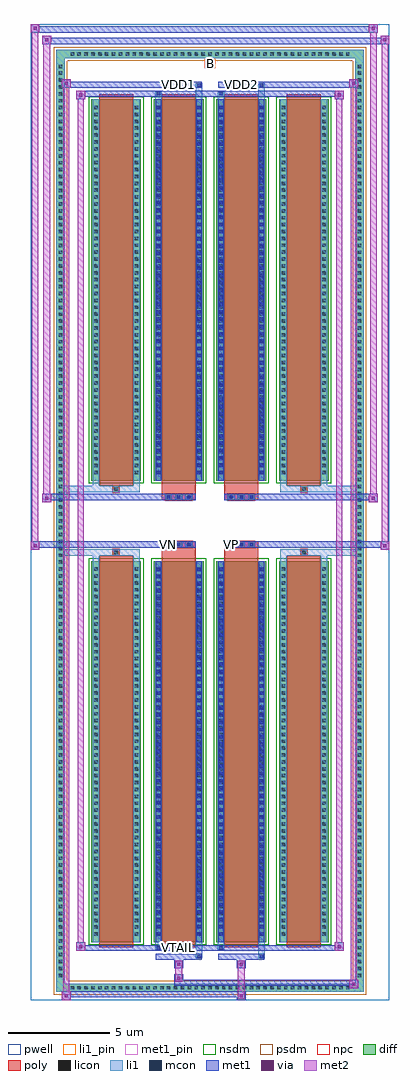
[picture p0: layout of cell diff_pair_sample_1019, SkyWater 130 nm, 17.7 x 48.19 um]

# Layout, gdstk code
import gdstk
lib = gdstk.Library(unit=1e-6, precision=5e-09)
def R(c, l, rs):  # rectangles x0, y0, x1, y1
    for r in rs: c.add(gdstk.rectangle(r[:2], r[2:], *l))
def A(c, l, x, y, w, h, nx, ny, dx, dy):  # array of equal rectangles
    R(c, l, [(x+i*dx, y+j*dy, x+i*dx+w, y+j*dy+h) for i in range(nx) for j in range(ny)])
def P(c, l, *ps):  # polygons
    for p in ps: c.add(gdstk.Polygon(p, *l))
pwell = (64, 44)
diff = (65, 20)
poly = (66, 20)
licon = (66, 44)
li1_pin = (67, 16)
li1 = (67, 20)
mcon = (67, 44)
met1_pin = (68, 16)
met1 = (68, 20)
via = (68, 44)
met2 = (69, 20)
nsdm = (93, 44)
psdm = (94, 20)
npc = (95, 20)

diff_pair_sample_1019 = lib.new_cell('diff_pair_sample_1019')
R(diff_pair_sample_1019, pwell, [(-8.85,-23.66,8.85,24.53), (-6.17,-21.85,-0.01,-0.805), (0.01,-21.85,6.17,-0.805), (-6.17,0.805,-0.01,21.85), (0.01,0.805,6.17,21.85)])
A(diff_pair_sample_1019, diff, -7.005, -23.26, 0.41, 0.41, 41, 2, 0.34, 46.11)
A(diff_pair_sample_1019, diff, -7.58, -22.645, 0.41, 0.41, 1, 133, 0, 0.34)
A(diff_pair_sample_1019, diff, 7.17, -22.645, 0.41, 0.41, 1, 133, 0, 0.34)
A(diff_pair_sample_1019, diff, -5.86, -20.805, 2.45, 18.82, 4, 2, 3.09, 22.79)
R(diff_pair_sample_1019, diff, [(-7.005,-23.26,7.005,-22.85), (-7.58,-22.645,-7.17,22.645), (7.17,-22.645,7.58,22.645), (-7.005,22.85,7.005,23.26)])
P(diff_pair_sample_1019, diff, [(7.58,23.26),(-7.58,23.26),(-7.58,-22.85),(-7.17,-22.85),(-7.17,22.85),(7.17,22.85),(7.17,-22.85),(-7.17,-22.85),(-7.58,-22.85),(-7.58,-23.26),(7.58,-23.26)])
A(diff_pair_sample_1019, poly, -5.47, -21.055, 1.67, 19.32, 4, 2, 3.09, 22.79)
A(diff_pair_sample_1019, poly, -2.21, -1.335, 0.33, 0.33, 3, 2, 0.5, 2.34)
A(diff_pair_sample_1019, poly, 0.88, -1.335, 0.33, 0.33, 3, 2, 0.5, 2.34)
R(diff_pair_sample_1019, poly, [(-4.8,-1.735,-4.47,-1.405), (-4.8,-1.735,-4.47,-1.405), (-2.38,-1.735,-0.71,-1.335), (0.71,-1.735,2.38,-1.335), (4.47,-1.735,4.8,-1.405), (4.47,-1.735,4.8,-1.405), (-2.38,-1.335,-0.71,-1.005), (0.71,-1.335,2.38,-1.005), (-2.38,1.005,-0.71,1.335), (0.71,1.005,2.38,1.335), (-2.38,1.335,-0.71,1.735), (0.71,1.335,2.38,1.735), (-4.8,1.405,-4.47,1.735), (-4.8,1.405,-4.47,1.735), (4.47,1.405,4.8,1.735), (4.47,1.405,4.8,1.735)])
A(diff_pair_sample_1019, licon, -6.885, -23.14, 0.17, 0.17, 41, 2, 0.34, 46.11)
A(diff_pair_sample_1019, licon, -7.46, -22.525, 0.17, 0.17, 1, 133, 0, 0.34)
A(diff_pair_sample_1019, licon, 7.29, -22.525, 0.17, 0.17, 1, 133, 0, 0.34)
A(diff_pair_sample_1019, licon, -5.72, -20.49, 0.17, 0.17, 1, 54, 0, 0.34)
A(diff_pair_sample_1019, licon, -3.72, -20.49, 0.17, 0.17, 1, 54, 0, 0.34)
A(diff_pair_sample_1019, licon, -2.63, -20.49, 0.17, 0.17, 1, 54, 0, 0.34)
A(diff_pair_sample_1019, licon, -0.63, -20.49, 0.17, 0.17, 1, 54, 0, 0.34)
A(diff_pair_sample_1019, licon, 0.46, -20.49, 0.17, 0.17, 1, 54, 0, 0.34)
A(diff_pair_sample_1019, licon, 2.46, -20.49, 0.17, 0.17, 1, 54, 0, 0.34)
A(diff_pair_sample_1019, licon, 3.55, -20.49, 0.17, 0.17, 1, 54, 0, 0.34)
A(diff_pair_sample_1019, licon, 5.55, -20.49, 0.17, 0.17, 1, 54, 0, 0.34)
A(diff_pair_sample_1019, licon, -2.13, -1.255, 0.17, 0.17, 3, 2, 0.5, 2.34)
A(diff_pair_sample_1019, licon, 0.96, -1.255, 0.17, 0.17, 3, 2, 0.5, 2.34)
A(diff_pair_sample_1019, licon, -5.72, 2.3, 0.17, 0.17, 1, 54, 0, 0.34)
A(diff_pair_sample_1019, licon, -3.72, 2.3, 0.17, 0.17, 1, 54, 0, 0.34)
A(diff_pair_sample_1019, licon, -2.63, 2.3, 0.17, 0.17, 1, 54, 0, 0.34)
A(diff_pair_sample_1019, licon, -0.63, 2.3, 0.17, 0.17, 1, 54, 0, 0.34)
A(diff_pair_sample_1019, licon, 0.46, 2.3, 0.17, 0.17, 1, 54, 0, 0.34)
A(diff_pair_sample_1019, licon, 2.46, 2.3, 0.17, 0.17, 1, 54, 0, 0.34)
A(diff_pair_sample_1019, licon, 3.55, 2.3, 0.17, 0.17, 1, 54, 0, 0.34)
A(diff_pair_sample_1019, licon, 5.55, 2.3, 0.17, 0.17, 1, 54, 0, 0.34)
R(diff_pair_sample_1019, licon, [(-4.72,-1.655,-4.55,-1.485), (4.55,-1.655,4.72,-1.485), (-4.72,1.485,-4.55,1.655), (4.55,1.485,4.72,1.655)])
R(diff_pair_sample_1019, li1_pin, [(-0.25,22.35,0.25,22.85)])
A(diff_pair_sample_1019, li1, -6.965, -23.22, 0.33, 0.33, 41, 2, 0.34, 46.11)
A(diff_pair_sample_1019, li1, -7.54, -22.605, 0.33, 0.33, 1, 133, 0, 0.34)
A(diff_pair_sample_1019, li1, 7.21, -22.605, 0.33, 0.33, 1, 133, 0, 0.34)
A(diff_pair_sample_1019, li1, -5.8, -20.57, 0.33, 0.33, 1, 54, 0, 0.34)
A(diff_pair_sample_1019, li1, -3.8, -20.57, 0.33, 0.33, 1, 54, 0, 0.34)
A(diff_pair_sample_1019, li1, -2.71, -20.57, 0.33, 0.33, 1, 54, 0, 0.34)
A(diff_pair_sample_1019, li1, -0.71, -20.57, 0.33, 0.33, 1, 54, 0, 0.34)
A(diff_pair_sample_1019, li1, 0.38, -20.57, 0.33, 0.33, 1, 54, 0, 0.34)
A(diff_pair_sample_1019, li1, 2.38, -20.57, 0.33, 0.33, 1, 54, 0, 0.34)
A(diff_pair_sample_1019, li1, 3.47, -20.57, 0.33, 0.33, 1, 54, 0, 0.34)
A(diff_pair_sample_1019, li1, 5.47, -20.57, 0.33, 0.33, 1, 54, 0, 0.34)
A(diff_pair_sample_1019, li1, -2.63, -20.48, 0.17, 0.17, 1, 51, 0, 0.36)
A(diff_pair_sample_1019, li1, -0.63, -20.48, 0.17, 0.17, 1, 51, 0, 0.36)
A(diff_pair_sample_1019, li1, 0.46, -20.48, 0.17, 0.17, 1, 51, 0, 0.36)
A(diff_pair_sample_1019, li1, 2.46, -20.48, 0.17, 0.17, 1, 51, 0, 0.36)
A(diff_pair_sample_1019, li1, -2.21, -1.335, 0.33, 0.33, 3, 2, 0.5, 2.34)
A(diff_pair_sample_1019, li1, 0.88, -1.335, 0.33, 0.33, 3, 2, 0.5, 2.34)
A(diff_pair_sample_1019, li1, -5.8, 2.22, 0.33, 0.33, 1, 54, 0, 0.34)
A(diff_pair_sample_1019, li1, -3.8, 2.22, 0.33, 0.33, 1, 54, 0, 0.34)
A(diff_pair_sample_1019, li1, -2.71, 2.22, 0.33, 0.33, 1, 54, 0, 0.34)
A(diff_pair_sample_1019, li1, -0.71, 2.22, 0.33, 0.33, 1, 54, 0, 0.34)
A(diff_pair_sample_1019, li1, 0.38, 2.22, 0.33, 0.33, 1, 54, 0, 0.34)
A(diff_pair_sample_1019, li1, 2.38, 2.22, 0.33, 0.33, 1, 54, 0, 0.34)
A(diff_pair_sample_1019, li1, 3.47, 2.22, 0.33, 0.33, 1, 54, 0, 0.34)
A(diff_pair_sample_1019, li1, 5.47, 2.22, 0.33, 0.33, 1, 54, 0, 0.34)
A(diff_pair_sample_1019, li1, -2.63, 2.31, 0.17, 0.17, 1, 51, 0, 0.36)
A(diff_pair_sample_1019, li1, -0.63, 2.31, 0.17, 0.17, 1, 51, 0, 0.36)
A(diff_pair_sample_1019, li1, 0.46, 2.31, 0.17, 0.17, 1, 51, 0, 0.36)
A(diff_pair_sample_1019, li1, 2.46, 2.31, 0.17, 0.17, 1, 51, 0, 0.36)
R(diff_pair_sample_1019, li1, [(-7.58,-23.26,-7.17,-22.85), (-7.58,-23.26,-7.17,-22.85), (-7.17,-23.26,7.17,-22.85), (7.17,-23.26,7.58,-22.85), (7.17,-23.26,7.58,-22.85), (-7.58,-22.85,-7.17,22.85), (7.17,-22.85,7.58,22.85), (-0.71,-21.61,-0.38,-20.805), (-0.63,-21.61,-0.46,-21.44), (2.38,-21.61,2.71,-20.805), (2.46,-21.61,2.63,-21.44), (-2.71,-21.18,-2.38,-20.805), (-2.63,-21.18,-2.46,-21.01), (0.38,-21.18,0.71,-20.805), (0.46,-21.18,0.63,-21.01), (-5.8,-20.805,-5.47,-1.985), (-3.8,-20.805,-3.47,-1.985), (-2.71,-20.805,-2.38,-1.985), (-0.71,-20.805,-0.38,-1.985), (0.38,-20.805,0.71,-1.985), (2.38,-20.805,2.71,-1.985), (3.47,-20.805,3.8,-1.985), (5.47,-20.805,5.8,-1.985), (-2.63,-20.48,-2.46,-2.31), (-0.63,-20.48,-0.46,-2.31), (0.46,-20.48,0.63,-2.31), (2.46,-20.48,2.63,-2.31), (-5.8,-1.985,-5.47,-1.405), (-3.8,-1.985,-3.47,-1.405), (3.47,-1.985,3.8,-1.405), (5.47,-1.985,5.8,-1.405), (-7.58,-1.735,-4.8,-1.405), (-5.8,-1.735,-4.8,-1.405), (-4.8,-1.735,-4.47,-1.405), (-4.47,-1.735,-3.47,-1.405), (3.47,-1.735,4.47,-1.405), (4.47,-1.735,4.8,-1.405), (4.47,-1.735,7.58,-1.405), (4.8,-1.735,5.8,-1.405), (-7.58,1.405,-4.8,1.735), (-5.8,1.405,-4.8,1.735), (-5.8,1.405,-5.47,1.985), (-4.8,1.405,-4.47,1.735), (-4.47,1.405,-3.47,1.735), (-3.8,1.405,-3.47,1.985), (3.47,1.405,4.47,1.735), (3.47,1.405,3.8,1.985), (4.47,1.405,4.8,1.735), (4.47,1.405,7.58,1.735), (4.8,1.405,5.8,1.735), (5.47,1.405,5.8,1.985), (-5.8,1.985,-5.47,20.805), (-3.8,1.985,-3.47,20.805), (-2.71,1.985,-2.38,20.805), (-0.71,1.985,-0.38,20.805), (0.38,1.985,0.71,20.805), (2.38,1.985,2.71,20.805), (3.47,1.985,3.8,20.805), (5.47,1.985,5.8,20.805), (-2.63,2.31,-2.46,20.48), (-0.63,2.31,-0.46,20.48), (0.46,2.31,0.63,20.48), (2.46,2.31,2.63,20.48), (-2.71,20.805,-2.38,21.18), (-0.71,20.805,-0.38,21.61), (0.38,20.805,0.71,21.18), (2.38,20.805,2.71,21.61), (-2.63,21.01,-2.46,21.18), (0.46,21.01,0.63,21.18), (-0.63,21.44,-0.46,21.61), (2.46,21.44,2.63,21.61), (-7.58,22.85,-7.17,23.26), (-7.58,22.85,-7.17,23.26), (-7.17,22.85,7.17,23.26), (7.17,22.85,7.58,23.26), (7.17,22.85,7.58,23.26)])
A(diff_pair_sample_1019, mcon, -2.63, -20.48, 0.17, 0.17, 1, 51, 0, 0.36)
A(diff_pair_sample_1019, mcon, -0.63, -20.48, 0.17, 0.17, 1, 51, 0, 0.36)
A(diff_pair_sample_1019, mcon, 0.46, -20.48, 0.17, 0.17, 1, 51, 0, 0.36)
A(diff_pair_sample_1019, mcon, 2.46, -20.48, 0.17, 0.17, 1, 51, 0, 0.36)
A(diff_pair_sample_1019, mcon, -2.13, -1.255, 0.17, 0.17, 3, 2, 0.5, 2.34)
A(diff_pair_sample_1019, mcon, 0.96, -1.255, 0.17, 0.17, 3, 2, 0.5, 2.34)
A(diff_pair_sample_1019, mcon, -2.63, 2.31, 0.17, 0.17, 1, 51, 0, 0.36)
A(diff_pair_sample_1019, mcon, -0.63, 2.31, 0.17, 0.17, 1, 51, 0, 0.36)
A(diff_pair_sample_1019, mcon, 0.46, 2.31, 0.17, 0.17, 1, 51, 0, 0.36)
A(diff_pair_sample_1019, mcon, 2.46, 2.31, 0.17, 0.17, 1, 51, 0, 0.36)
R(diff_pair_sample_1019, mcon, [(-0.63,-21.61,-0.46,-21.44), (2.46,-21.61,2.63,-21.44), (-2.63,-21.18,-2.46,-21.01), (0.46,-21.18,0.63,-21.01), (-2.63,21.01,-2.46,21.18), (0.46,21.01,0.63,21.18), (-0.63,21.44,-0.46,21.61), (2.46,21.44,2.63,21.61)])
R(diff_pair_sample_1019, met1_pin, [(-1.68,-21.22,-1.41,-20.95), (-2.18,-1.295,-1.91,-1.025), (0.91,-1.295,1.18,-1.025), (-1.68,21.4,-1.41,21.67), (1.41,21.4,1.68,21.67)])
A(diff_pair_sample_1019, met1, -2.69, -20.54, 0.29, 0.29, 1, 51, 0, 0.36)
A(diff_pair_sample_1019, met1, -0.69, -20.54, 0.29, 0.29, 1, 51, 0, 0.36)
A(diff_pair_sample_1019, met1, 0.4, -20.54, 0.29, 0.29, 1, 51, 0, 0.36)
A(diff_pair_sample_1019, met1, 2.4, -20.54, 0.29, 0.29, 1, 51, 0, 0.36)
A(diff_pair_sample_1019, met1, -2.19, -1.315, 0.29, 0.29, 3, 2, 0.5, 2.34)
A(diff_pair_sample_1019, met1, 0.9, -1.315, 0.29, 0.29, 3, 2, 0.5, 2.34)
A(diff_pair_sample_1019, met1, -2.69, 2.25, 0.29, 0.29, 1, 51, 0, 0.36)
A(diff_pair_sample_1019, met1, -0.69, 2.25, 0.29, 0.29, 1, 51, 0, 0.36)
A(diff_pair_sample_1019, met1, 0.4, 2.25, 0.29, 0.29, 1, 51, 0, 0.36)
A(diff_pair_sample_1019, met1, 2.4, 2.25, 0.29, 0.29, 1, 51, 0, 0.36)
R(diff_pair_sample_1019, met1, [(-7.31,-23.66,-6.88,-23.23), (1.33,-23.66,1.76,-23.23), (-7.31,-23.52,1.76,-23.23), (6.88,-23.09,7.31,-22.66), (-1.76,-22.95,7.31,-22.66), (-1.76,-22.81,-1.33,-22.38), (-1.76,-22.1,-1.33,-21.67), (1.33,-22.1,1.76,-21.67), (-2.69,-21.67,-0.4,-21.38), (-0.69,-21.67,-0.4,-21.38), (0.4,-21.67,2.69,-21.38), (2.4,-21.67,2.69,-21.38), (-6.6,-21.24,-6.17,-20.81), (-6.6,-21.24,-2.69,-20.95), (-2.69,-21.24,-2.4,-20.95), (-2.69,-21.24,-0.4,-20.95), (-0.4,-21.24,0.4,-20.95), (0.4,-21.24,0.69,-20.95), (0.4,-21.24,2.69,-20.95), (2.69,-21.24,6.6,-20.95), (6.17,-21.24,6.6,-20.81), (-2.69,-20.805,-2.4,-1.985), (-0.69,-20.805,-0.4,-1.985), (0.4,-20.805,0.69,-1.985), (2.4,-20.805,2.69,-1.985), (-8.85,-1.435,-8.42,-1.005), (8.42,-1.435,8.85,-1.005), (-8.85,-1.335,-0.71,-1.005), (-2.38,-1.335,-0.71,-1.005), (0.71,-1.335,2.38,-1.005), (0.71,-1.335,8.85,-1.005), (-8.28,0.905,-7.85,1.335), (7.85,0.905,8.28,1.335), (-8.28,1.005,-2.38,1.335), (-2.38,1.005,-0.71,1.335), (0.71,1.005,2.38,1.335), (2.38,1.005,8.28,1.335), (-2.69,1.985,-2.4,20.805), (-0.69,1.985,-0.4,20.805), (0.4,1.985,0.69,20.805), (2.4,1.985,2.69,20.805), (-6.6,20.81,-6.17,21.24), (6.17,20.81,6.6,21.24), (-6.6,20.95,-2.69,21.24), (-2.69,20.95,-2.4,21.24), (-2.69,20.95,-0.4,21.24), (-0.4,20.95,0.4,21.24), (0.4,20.95,0.69,21.24), (0.4,20.95,2.69,21.24), (2.69,20.95,6.6,21.24), (-7.31,21.38,-6.88,21.81), (-7.31,21.38,-2.69,21.67), (-2.69,21.38,-0.4,21.67), (-0.69,21.38,-0.4,21.67), (0.4,21.38,2.69,21.67), (2.4,21.38,2.69,21.67), (2.69,21.38,7.31,21.67), (6.88,21.38,7.31,21.81), (-8.28,23.53,-7.85,23.96), (-8.28,23.53,-6.17,23.86), (-6.17,23.53,6.17,23.86), (6.17,23.53,8.85,23.86), (8.42,23.53,8.85,23.96), (-8.85,24.1,-8.42,24.53), (-8.85,24.1,-6.17,24.43), (-6.17,24.1,6.17,24.43), (6.17,24.1,8.28,24.43), (7.85,24.1,8.28,24.53)])
R(diff_pair_sample_1019, via, [(-7.17,-23.52,-7.02,-23.37), (1.47,-23.52,1.62,-23.37), (7.02,-22.95,7.17,-22.8), (-1.62,-22.67,-1.47,-22.52), (-1.62,-21.96,-1.47,-21.81), (1.47,-21.96,1.62,-21.81), (-6.46,-21.1,-6.31,-20.95), (6.31,-21.1,6.46,-20.95), (-8.71,-1.295,-8.56,-1.145), (8.56,-1.295,8.71,-1.145), (-8.14,1.045,-7.99,1.195), (7.99,1.045,8.14,1.195), (-6.46,20.95,-6.31,21.1), (6.31,20.95,6.46,21.1), (-7.17,21.52,-7.02,21.67), (7.02,21.52,7.17,21.67), (-8.14,23.67,-7.99,23.82), (8.56,23.67,8.71,23.82), (-8.71,24.24,-8.56,24.39), (7.99,24.24,8.14,24.39)])
R(diff_pair_sample_1019, met2, [(-7.31,-23.66,-6.88,-23.23), (-7.24,-23.66,-6.95,21.81), (-6.95,-23.66,-6.88,-23.23), (-7.26,-23.61,-6.93,-23.28), (1.38,-23.61,1.71,-23.28), (1.38,-23.28,1.71,-22.05), (6.88,-23.09,7.31,-22.66), (6.95,-23.09,7.24,21.81), (7.24,-23.09,7.31,-22.66), (6.93,-23.04,7.26,-22.71), (-1.71,-22.76,-1.38,-22.43), (-1.71,-22.43,-1.38,-22.05), (-1.71,-22.05,-1.38,-21.72), (1.38,-22.05,1.71,-21.72), (-6.6,-21.24,-6.17,-20.81), (-6.53,-21.24,-6.24,21.24), (-6.24,-21.24,-6.17,-20.81), (6.17,-21.24,6.6,-20.81), (6.24,-21.24,6.53,21.24), (6.53,-21.24,6.6,-20.81), (-6.55,-21.19,-6.22,-20.86), (6.22,-21.19,6.55,-20.86), (-8.85,-1.435,-8.42,-1.005), (-8.8,-1.435,-8.47,24.53), (-8.47,-1.435,-8.42,-1.005), (8.42,-1.435,8.85,-1.005), (8.47,-1.435,8.8,23.96), (8.8,-1.435,8.85,-1.005), (-8.8,-1.385,-8.47,-1.055), (8.47,-1.385,8.8,-1.055), (-8.28,0.905,-7.85,1.335), (-8.23,0.905,-7.9,23.96), (-7.9,0.905,-7.85,1.335), (7.85,0.905,8.28,1.335), (7.9,0.905,8.23,24.53), (8.23,0.905,8.28,1.335), (-8.23,0.955,-7.9,1.285), (7.9,0.955,8.23,1.285), (-6.6,20.81,-6.17,21.24), (-6.24,20.81,-6.17,21.24), (6.17,20.81,6.6,21.24), (6.53,20.81,6.6,21.24), (-6.55,20.86,-6.22,21.19), (6.22,20.86,6.55,21.19), (-7.31,21.38,-6.88,21.81), (-6.95,21.38,-6.88,21.81), (6.88,21.38,7.31,21.81), (7.24,21.38,7.31,21.81), (-7.26,21.43,-6.93,21.76), (6.93,21.43,7.26,21.76), (-8.28,23.53,-7.85,23.96), (-7.9,23.53,-7.85,23.96), (8.42,23.53,8.85,23.96), (8.8,23.53,8.85,23.96), (-8.23,23.58,-7.9,23.91), (8.47,23.58,8.8,23.91), (-8.85,24.1,-8.42,24.53), (-8.47,24.1,-8.42,24.53), (7.85,24.1,8.28,24.53), (8.23,24.1,8.28,24.53), (-8.8,24.15,-8.47,24.48), (7.9,24.15,8.23,24.48)])
A(diff_pair_sample_1019, nsdm, -5.99, -20.935, 2.71, 19.08, 4, 2, 3.09, 22.79)
P(diff_pair_sample_1019, psdm, [(7.71,23.39),(-7.71,23.39),(-7.71,-22.72),(-7.04,-22.72),(-7.04,22.72),(7.04,22.72),(7.04,-22.72),(-7.04,-22.72),(-7.71,-22.72),(-7.71,-23.39),(7.71,-23.39)])
A(diff_pair_sample_1019, npc, -2.23, -1.355, 0.37, 0.37, 3, 2, 0.5, 2.34)
A(diff_pair_sample_1019, npc, 0.86, -1.355, 0.37, 0.37, 3, 2, 0.5, 2.34)
R(diff_pair_sample_1019, npc, [(-4.82,-1.755,-4.45,-1.385), (4.45,-1.755,4.82,-1.385), (-2.23,-1.355,-1.36,-0.985), (-2.23,-1.355,-1.36,-0.985), (-1.73,-1.355,-0.86,-0.985), (-1.73,-1.355,-0.86,-0.985), (0.86,-1.355,1.73,-0.985), (0.86,-1.355,1.73,-0.985), (1.36,-1.355,2.23,-0.985), (1.36,-1.355,2.23,-0.985), (-2.23,0.985,-1.36,1.355), (-2.23,0.985,-1.36,1.355), (-1.73,0.985,-0.86,1.355), (-1.73,0.985,-0.86,1.355), (0.86,0.985,1.73,1.355), (0.86,0.985,1.73,1.355), (1.36,0.985,2.23,1.355), (1.36,0.985,2.23,1.355), (-4.82,1.385,-4.45,1.755), (4.45,1.385,4.82,1.755)])
diff_pair_sample_1019.add(gdstk.Label('VTAIL', (-1.545,-21.085), layer=68, texttype=5))
diff_pair_sample_1019.add(gdstk.Label('VN', (-2.045,-1.16), layer=68, texttype=5))
diff_pair_sample_1019.add(gdstk.Label('VP', (1.045,-1.16), layer=68, texttype=5))
diff_pair_sample_1019.add(gdstk.Label('B', (0,22.6), layer=67, texttype=5))
diff_pair_sample_1019.add(gdstk.Label('VDD2', (1.545,21.535), layer=68, texttype=5))
diff_pair_sample_1019.add(gdstk.Label('VDD1', (-1.545,21.535), layer=68, texttype=5))

lib.write_gds('diff_pair_sample_1019.gds')
